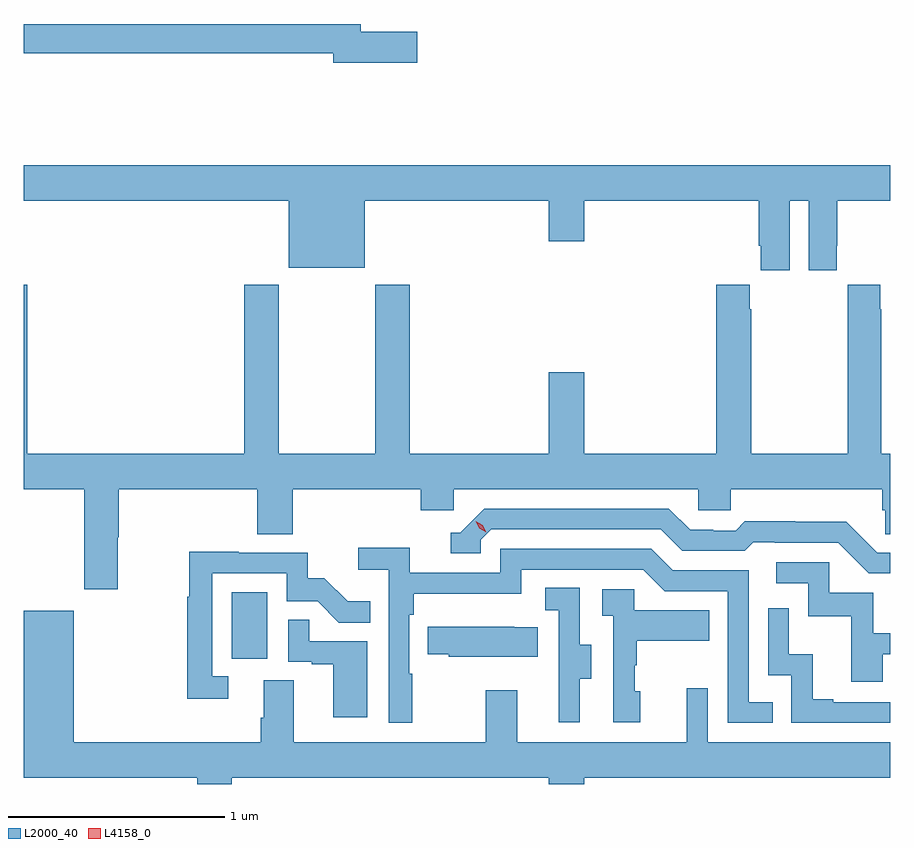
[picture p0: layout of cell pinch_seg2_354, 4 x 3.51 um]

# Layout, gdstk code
import gdstk
lib = gdstk.Library(unit=1e-6, precision=1e-09)
def R(c, l, rs):  # rectangles x0, y0, x1, y1
    for r in rs: c.add(gdstk.rectangle(r[:2], r[2:], *l))
def P(c, l, *ps):  # polygons
    for p in ps: c.add(gdstk.Polygon(p, *l))
L2000_40 = (2000, 40)
L4158_0 = (4158, 0)

pinch_seg2_354 = lib.new_cell('pinch_seg2_354')
R(pinch_seg2_354, L2000_40, [(978.728,636.198,978.892,636.505)])
P(pinch_seg2_354, L2000_40, [(979.585,639.092),(979.324,639.092),(979.324,639.128),(977.768,639.128),(977.768,638.992),(979.196,638.992),(979.196,638.95),(979.585,638.95)],
  [(981.304,638.312),(981.392,638.312),(981.392,637.992),(981.522,637.992),(981.522,638.104),(981.523,638.104),(981.523,638.312),(981.768,638.312),(981.768,638.476),(977.768,638.476),(977.768,638.312),(978.992,638.312),(978.992,638.003),(979.342,638.003),(979.342,638.312),(980.192,638.312),(980.192,638.124),(980.356,638.124),(980.356,638.312),(981.161,638.312),(981.161,638.104),(981.17,638.104),(981.17,637.992),(981.304,637.992)],
  [(979.601,636.882),(979.752,636.882),(979.752,636.98),(980.883,636.98),(980.883,636.882),(981.033,636.882),(981.033,636.98),(981.731,636.98),(981.731,636.882),(981.745,636.882),(981.745,636.772),(981.768,636.772),(981.768,637.144),(981.726,637.144),(981.726,637.811),(981.723,637.811),(981.723,637.924),(981.573,637.924),(981.573,637.811),(981.571,637.811),(981.571,637.144),(981.126,637.144),(981.126,637.811),(981.119,637.811),(981.119,637.924),(980.966,637.924),(980.966,637.144),(980.356,637.144),(980.356,637.519),(980.192,637.519),(980.192,637.144),(979.55,637.144),(979.55,637.924),(979.39,637.924),(979.39,637.144),(978.945,637.144),(978.945,637.924),(978.785,637.924),(978.785,637.144),(977.783,637.144),(977.783,637.924),(977.768,637.924),(977.768,636.98),(978.046,636.98),(978.046,636.519),(978.201,636.519),(978.201,636.758),(978.206,636.758),(978.206,636.98),(978.845,636.98),(978.845,636.772),(979.01,636.772),(979.01,636.98),(979.601,636.98)],
  [(981.768,636.687),(981.708,636.687),(981.566,636.829),(981.33,636.829),(981.33,636.832),(981.097,636.832),(981.055,636.789),(980.952,636.789),(980.952,636.792),(980.845,636.792),(980.746,636.891),(979.893,636.891),(979.782,636.78),(979.739,636.78),(979.739,636.684),(979.878,636.684),(979.878,636.747),(979.926,636.795),(980.709,636.795),(980.808,636.696),(981.097,636.696),(981.136,636.735),(981.235,636.735),(981.235,636.732),(981.528,636.732),(981.669,636.591),(981.768,636.591)],
  [(979.561,636.128),(979.548,636.128),(979.548,636.401),(979.568,636.401),(979.568,636.497),(980.064,636.497),(980.064,636.609),(980.628,636.609),(980.727,636.51),(981.018,636.51),(981.018,635.901),(981.227,635.901),(981.227,635.997),(981.114,635.997),(981.114,636.606),(980.764,636.606),(980.665,636.705),(979.968,636.705),(979.968,636.594),(979.55,636.594),(979.55,636.71),(979.311,636.71),(979.311,636.608),(979.452,636.608),(979.452,635.901),(979.561,635.901)],
  [(978.712,636.117),(978.639,636.117),(978.639,636.591),(978.981,636.591),(978.981,636.462),(979.125,636.462),(979.223,636.364),(979.367,636.364),(979.367,636.463),(979.263,636.463),(979.156,636.57),(979.08,636.57),(979.08,636.687),(978.761,636.687),(978.761,636.692),(978.531,636.692),(978.531,636.484),(978.523,636.484),(978.523,636.012),(978.712,636.012)],
  [(981.733,636.219),(981.768,636.219),(981.768,636.315),(981.691,636.315),(981.691,636.501),(981.486,636.501),(981.486,636.642),(981.243,636.642),(981.243,636.546),(981.39,636.546),(981.39,636.393),(981.589,636.393),(981.589,636.09),(981.733,636.09)],
  [(980.335,636.106),(980.389,636.106),(980.389,636.261),(980.334,636.261),(980.334,636.524),(980.175,636.524),(980.175,636.421),(980.238,636.421),(980.238,636.117),(980.237,636.117),(980.237,635.904),(980.335,635.904)],
  [(980.614,636.048),(980.589,636.048),(980.589,636.167),(980.599,636.167),(980.599,636.281),(980.933,636.281),(980.933,636.421),(980.586,636.421),(980.586,636.519),(980.439,636.519),(980.439,636.395),(980.49,636.395),(980.49,635.904),(980.614,635.904)],
  [(981.768,635.997),(981.505,635.997),(981.505,636.01),(981.41,636.01),(981.41,636.218),(981.3,636.218),(981.3,636.43),(981.204,636.43),(981.204,636.12),(981.312,636.12),(981.312,635.901),(981.768,635.901)],
  [(978.728,635.648),(980.192,635.648),(980.192,635.619),(980.356,635.619),(980.356,635.648),(981.768,635.648),(981.768,635.812),(980.925,635.812),(980.925,636.061),(980.828,636.061),(980.828,635.812),(980.047,635.812),(980.047,636.052),(979.9,636.052),(979.9,635.812),(979.015,635.812),(979.015,636.098),(978.875,636.098),(978.875,635.924),(978.863,635.924),(978.863,635.812),(977.998,635.812),(977.998,636.418),(977.768,636.418),(977.768,635.648),(978.568,635.648),(978.568,635.619),(978.728,635.619)],
  [(979.354,636.279),(979.085,636.279),(979.085,636.377),(978.99,636.377),(978.99,636.183),(979.097,636.183),(979.097,636.171),(979.196,636.171),(979.196,635.928),(979.354,635.928)],
  [(980.141,636.343),(980.033,636.343),(980.033,636.346),(979.633,636.346),(979.633,636.217),(979.731,636.217),(979.731,636.206),(980.141,636.206)])
P(pinch_seg2_354, L4158_0, [(979.902,636.781),(979.871,636.8),(979.855,636.833),(979.855,636.833),(979.855,636.833),(979.886,636.814),(979.902,636.781),(979.902,636.781)])

lib.write_gds('pinch_seg2_354.gds')
